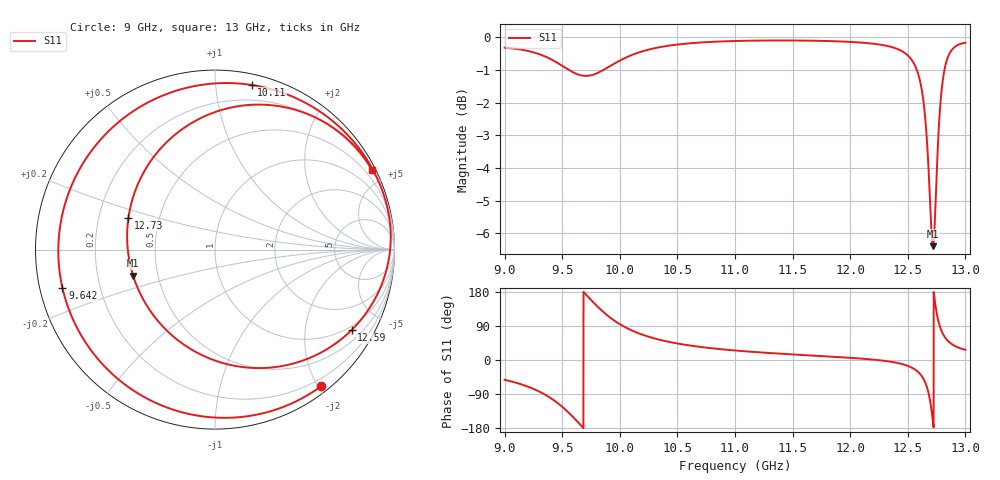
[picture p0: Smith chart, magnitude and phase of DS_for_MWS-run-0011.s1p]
! TOUCHSTONE file generated by CST DESIGN STUDIO
! Date and time: Wed Feb  5 13:21:58 2025
! Project name: C:\Work\MatlabApps\UnitCellOptimizationMatlab\CST\unitcell.cst
! Tree item: Tasks\Sweep1\SPara1\S-Parameters
! Header version: 2024
! Port assignment regex: !\s*Touchstone port\s*([0-9]+)\s*=\s*(CST MWS port|CST DES external port|CST DES block port)\s*(.+)\s* \(\"(.*)\"\)(\s*mode\s*([0-9]+))?.*
! Touchstone port assignment:
! Touchstone port 1 = CST DES external port 1 ("")
# GHz S MA R 50
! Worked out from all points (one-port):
!   4001 points, 9 GHz to 13 GHz, reference 50 ohm
!   lowest |S11| = -6.4 dB at 12.72 GHz (marker M1), VSWR 2.84, Z = 18 - j6.78 ohm
!   |S11| at or under -10 dB: nowhere
!   S11 on the Smith chart (normalised r, x): 9 GHz: 0.09, -2.03; 9.642 GHz: 0.07, -0.12; 10.11 GHz: 0.08, +1.24; 12.59 GHz: 0.85, -3.47; 12.73 GHz: 0.33, +0.16; 13 GHz: 0.18, +4.17
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9  0.9638 -52.3
9.256  0.9475 -76.9
9.393  0.9271 -99.2
9.5  0.9041 -123.4
9.642  0.8764 -165.8
9.73  0.8732 165.0
9.831  0.8858 133.9
9.911  0.9023 113.1
10  0.9209 94.6
10.108  0.9398 77.4
10.283  0.9604 58.4
10.5  0.9745 43.5
11  0.9867 25.1
11.5  0.9885 14.7
12  0.9836 5.8
12.316  0.9703 -3.0
12.5  0.9378 -15.5
12.586  0.883 -30.5
12.633  0.8051 -48.1
12.672  0.6689 -77.6
12.695  0.5512 -110.2
12.718  0.4788 -162.3
12.733  0.5142 159.7
12.763  0.6928 105.9
12.794  0.8316 76.0
12.828  0.9078 57.6
12.869  0.9489 44.7
13  0.9807 26.9
